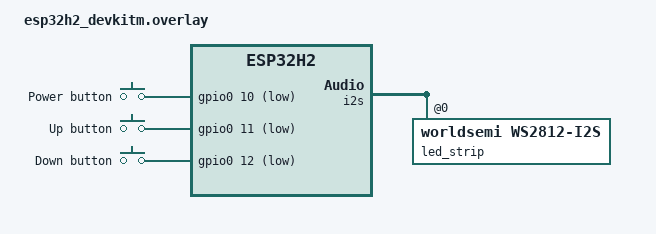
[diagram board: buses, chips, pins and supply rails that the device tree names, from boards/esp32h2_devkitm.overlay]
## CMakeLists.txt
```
cmake_minimum_required(VERSION 3.20.0)

# SPLed is a plain west project. It knows nothing about Zephyr, so nothing in
# this port is mirrored on the SPLed side.
if(NOT DEFINED SPLED_ROOT)
  get_filename_component(SPLED_ROOT ${CMAKE_CURRENT_SOURCE_DIR}/../deps/spled ABSOLUTE)
endif()
if(NOT EXISTS ${SPLED_ROOT}/KConfig)
  message(FATAL_ERROR
    "SPLed sources not found at ${SPLED_ROOT}. "
    "Run `west update`, or configure with -DSPLED_ROOT=<path>.")
endif()

# app/Kconfig sources the SPLed feature model through this variable, so it must
# be set before find_package(Zephyr) runs Kconfig.
set(ENV{SPLED_ROOT} ${SPLED_ROOT})

find_package(Zephyr REQUIRED HINTS $ENV{ZEPHYR_BASE})
project(spledz C)

set(SPLED_COMPONENTS ${SPLED_ROOT}/components)

target_sources(app PRIVATE
  src/main.c
  src/button_adapter.c
  ${SPLED_COMPONENTS}/rte/src/rte.c
  ${SPLED_COMPONENTS}/spled/src/spled.c
  ${SPLED_COMPONENTS}/power_button/src/power_button.c
  ${SPLED_COMPONENTS}/power_signal_processing/src/power_signal_processing.c
  ${SPLED_COMPONENTS}/light_controller/src/light_controller.c
  ${SPLED_COMPONENTS}/main_control_knob/src/main_control_knob.c
)

# The platform adapters, picked by what the board's devicetree offers rather
# than by the board name: an RGB LED on a data line goes through led_strip, a
# plain on/off LED through gpio.
target_sources_ifdef(CONFIG_LED_STRIP app PRIVATE src/led_adapter_ws2812.c)
target_sources_ifndef(CONFIG_LED_STRIP app PRIVATE src/led_adapter.c)
# Both platforms: on native_sim it is the only way to press a button, on the
# board it is the one that needs no wiring.
target_sources_ifdef(CONFIG_SHELL app PRIVATE src/buttons_shell.c)

# In SPLed each variant lists the components it is built from. Zephyr has no
# variant to carry that list, so the selection is re-derived from a feature
# symbol here.
target_sources_ifdef(CONFIG_BRIGHTNESS_ADJUSTMENT_ENABLED app PRIVATE
  ${SPLED_COMPONENTS}/brightness_controller/src/brightness_controller.c
)

# SPLed's platform toolchain files supply this: `static` in a product build,
# empty in a test build so the tests can reach internal functions. Zephyr has no
# platform layer to carry it, so it is repeated here.
target_compile_definitions(app PRIVATE SPLE_TESTABLE_STATIC=static)

target_include_directories(app PRIVATE
  ${SPLED_ROOT}/platforms
  ${SPLED_COMPONENTS}/rte/src
  ${SPLED_COMPONENTS}/spled/src
  ${SPLED_COMPONENTS}/led_interface
  ${SPLED_COMPONENTS}/button_interface
  ${SPLED_COMPONENTS}/power_button/src
  ${SPLED_COMPONENTS}/power_signal_processing/src
  ${SPLED_COMPONENTS}/light_controller/src
  ${SPLED_COMPONENTS}/main_control_knob/src
  ${SPLED_COMPONENTS}/brightness_controller/src
  # SPLed components include "autoconf.h" by name; Zephyr generates it here.
  ${PROJECT_BINARY_DIR}/include/generated/zephyr
)
```

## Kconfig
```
# The SPLed feature model, reused as-is from the SPLed repository.
# SPLED_ROOT is exported by CMakeLists.txt before find_package(Zephyr).
source "$(SPLED_ROOT)/KConfig"

source "Kconfig.zephyr"
```

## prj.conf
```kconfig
# Default build (no FILE_SUFFIX given). Same product as Disco.
#
# FILE_SUFFIX replaces this file rather than extending it, so every prj_*.conf
# repeats the Zephyr settings below. SPLed has no such duplication: its variants
# only list what differs.
CONFIG_GPIO=y
CONFIG_LOG=y
# The shell replaces pc_terminal's keyboard: `spled power`, `spled up/down`.
CONFIG_SHELL=y
CONFIG_MAIN_STACK_SIZE=2048

CONFIG_OS_TASK_PERIOD=10
CONFIG_BLINKING=y
CONFIG_COLOR_GREEN=y
CONFIG_COLOR_1_OFF=y
```

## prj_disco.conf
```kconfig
# Disco: the LED blinks and the knob changes the blinking frequency.
# Feature values taken from SPLed's variants/Disco/config.txt.
CONFIG_GPIO=y
CONFIG_LOG=y
# The shell replaces pc_terminal's keyboard: `spled power`, `spled up/down`.
CONFIG_SHELL=y
CONFIG_MAIN_STACK_SIZE=2048

CONFIG_OS_TASK_PERIOD=10
CONFIG_BLINKING=y
CONFIG_COLOR_GREEN=y
CONFIG_COLOR_1_OFF=y
```

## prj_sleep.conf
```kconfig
# Sleep: constant color, brightness adjusted by hand.
# Feature values taken from SPLed's variants/Sleep/config.txt.
CONFIG_GPIO=y
CONFIG_LOG=y
# The shell replaces pc_terminal's keyboard: `spled power`, `spled up/down`.
CONFIG_SHELL=y
CONFIG_MAIN_STACK_SIZE=2048

CONFIG_OS_TASK_PERIOD=10
CONFIG_BRIGHTNESS_ADJUSTMENT_MANUAL=y
CONFIG_COLOR_PURPLE=y
CONFIG_COLOR_1_OFF=y
```

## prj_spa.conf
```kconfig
# Spa: brightness pulsates and the light cycles through two colors.
# Feature values taken from SPLed's variants/Spa/config.txt.
CONFIG_GPIO=y
CONFIG_LOG=y
# The shell replaces pc_terminal's keyboard: `spled power`, `spled up/down`.
CONFIG_SHELL=y
CONFIG_MAIN_STACK_SIZE=2048

CONFIG_OS_TASK_PERIOD=10
CONFIG_BRIGHTNESS_ADJUSTMENT_AUTOMATIC=y
CONFIG_BRIGHTNESS_ADJUSTMENT_PERIOD=10
CONFIG_COLOR_PURPLE=y
CONFIG_COLOR_1_GREEN=y
```

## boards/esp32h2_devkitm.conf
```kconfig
# The board's LED is a WS2812 on a data line, not a GPIO that goes on and off,
# so it is driven through the led_strip API. The I2S driver behind it is
# selected by the devicetree node in the overlay next to this file.
CONFIG_LED_STRIP=y
```

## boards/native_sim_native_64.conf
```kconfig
# Keep the shell in the terminal that started the binary. The LED display uses
# the second UART, which stays on its own pseudo terminal.
#
# Board files are merged on top of prj_<variant>.conf rather than replacing it,
# so this line lives here once instead of in every variant.
CONFIG_UART_NATIVE_PTY_0_ON_STDINOUT=y
```

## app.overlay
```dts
#include <zephyr/dt-bindings/gpio/gpio.h>

/* The LED display gets its own pseudo terminal, leaving the console free for the
 * shell. See app/src/led_adapter.c. */
&uart1 {
	status = "okay";
};

/ {
	buttons {
		compatible = "gpio-keys";

		power_button: button_power {
			gpios = <&gpio0 1 (GPIO_ACTIVE_LOW | GPIO_PULL_UP)>;
			label = "Power button";
		};

		up_button: button_up {
			gpios = <&gpio0 2 (GPIO_ACTIVE_LOW | GPIO_PULL_UP)>;
			label = "Up button";
		};

		down_button: button_down {
			gpios = <&gpio0 3 (GPIO_ACTIVE_LOW | GPIO_PULL_UP)>;
			label = "Down button";
		};
	};

	aliases {
		sw0 = &power_button;
		sw1 = &up_button;
		sw2 = &down_button;
	};
};
```

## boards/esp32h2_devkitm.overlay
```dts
/*
 * The WS2812 half is taken from Zephyr's own led_strip sample
 * (samples/drivers/led/led_strip/boards/esp32h2_devkitm.overlay), which already
 * describes the onboard RGB LED: a WS2812 on GPIO8 driven over I2S with DMA,
 * because there is no RMT-based WS2812 driver in the tree. The Waveshare board
 * carries the same LED on the same pin, so the node transfers unchanged.
 *
 * The buttons are ours: the board has one usable key (BOOT, GPIO9) and SPLed
 * needs three, so they are wired to free header pins.
 */

#include <zephyr/dt-bindings/gpio/gpio.h>
#include <zephyr/dt-bindings/led/led.h>

/ {
	aliases {
		led-strip = &led_strip;
	};

	buttons {
		compatible = "gpio-keys";

		power_button: button_power {
			gpios = <&gpio0 10 (GPIO_ACTIVE_LOW | GPIO_PULL_UP)>;
			label = "Power button";
		};

		up_button: button_up {
			gpios = <&gpio0 11 (GPIO_ACTIVE_LOW | GPIO_PULL_UP)>;
			label = "Up button";
		};

		down_button: button_down {
			gpios = <&gpio0 12 (GPIO_ACTIVE_LOW | GPIO_PULL_UP)>;
			label = "Down button";
		};
	};
};

/* Not in the aliases block above: the board DTS already aliases sw0 to the BOOT
 * key, and an alias can only be set once, so all three are overridden here. */
&{/aliases} {
	sw0 = &power_button;
	sw1 = &up_button;
	sw2 = &down_button;
};

&i2s_default {
	group1 {
		pinmux = <I2S_O_SD_GPIO8>;
	};
};

i2s_led: &i2s {
	status = "okay";

	dmas = <&dma 3>;
	dma-names = "tx";

	led_strip: ws2812@0 {
		compatible = "worldsemi,ws2812-i2s";

		reg = <0>;
		chain-length = <1>;
		color-mapping = <LED_COLOR_ID_GREEN
				 LED_COLOR_ID_RED
				 LED_COLOR_ID_BLUE>;
		reset-delay = <500>;
	};
};

&dma {
	status = "okay";
};
```

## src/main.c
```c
#include <zephyr/kernel.h>

#include "autoconf.h"
#include "button_interface.h"
#include "led_interface.h"
#include "spled.h"

int main(void)
{
	ledInterface_init();
	buttonInterface_init();
	Task_Init();

	while (1) {
		buttonInterface_update();
		spled();
		k_sleep(K_MSEC(CONFIG_OS_TASK_PERIOD));
	}

	return 0;
}
```

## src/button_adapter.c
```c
#include <zephyr/drivers/gpio.h>
#include <zephyr/logging/log.h>

#include "button_interface.h"

LOG_MODULE_REGISTER(spled_button, LOG_LEVEL_INF);

enum ButtonIndex {
	BUTTON_POWER = 0,
	BUTTON_UP,
	BUTTON_DOWN,
	BUTTON_COUNT,
};

static const struct gpio_dt_spec buttons[BUTTON_COUNT] = {
	[BUTTON_POWER] = GPIO_DT_SPEC_GET(DT_ALIAS(sw0), gpios),
	[BUTTON_UP] = GPIO_DT_SPEC_GET(DT_ALIAS(sw1), gpios),
	[BUTTON_DOWN] = GPIO_DT_SPEC_GET(DT_ALIAS(sw2), gpios),
};

static boolean pressed[BUTTON_COUNT];

void buttonInterface_init(void)
{
	for (int i = 0; i < BUTTON_COUNT; i++) {
		if (!gpio_is_ready_dt(&buttons[i])) {
			LOG_ERR("button %d is not ready", i);
			continue;
		}
		gpio_pin_configure_dt(&buttons[i], GPIO_INPUT);
	}
}

void buttonInterface_update(void)
{
	for (int i = 0; i < BUTTON_COUNT; i++) {
		pressed[i] = (gpio_pin_get_dt(&buttons[i]) > 0) ? TRUE : FALSE;
	}
}

boolean ButtonInterfaceIsButtonPressed(KeyCodes key)
{
	switch (key) {
	case POWER_BUTTON_KEY:
		return pressed[BUTTON_POWER];
	case KEY_UP:
		return pressed[BUTTON_UP];
	case KEY_DOWN:
		return pressed[BUTTON_DOWN];
	default:
		return FALSE;
	}
}
```

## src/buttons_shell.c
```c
#include <zephyr/drivers/gpio.h>
#ifdef CONFIG_GPIO_EMUL
#include <zephyr/drivers/gpio/gpio_emul.h>
#endif
#include <zephyr/kernel.h>
#include <zephyr/shell/shell.h>

#include "autoconf.h"
#include "rte.h"

/* SPLed's pc_terminal platform is also a keyboard simulator; this is the port's
 * replacement for it: `spled power`, `spled up`, `spled down`. On native_sim
 * nothing drives the emulated pins, so without this there is no way in at all.
 * On the board it is a convenience, and it coexists with the soldered buttons:
 * both ways of pressing end up as the same low level on the same pin, so the
 * adapter above cannot tell them apart and does not have to. */

/* powerButton() needs POWER_BUTTON_PRESS_DEBOUNCE (10) consecutive polls at
 * CONFIG_OS_TASK_PERIOD ms to accept a press; hold well past that. */
#define PRESS_HOLD_MS (CONFIG_OS_TASK_PERIOD * 20)

static const struct gpio_dt_spec power_button = GPIO_DT_SPEC_GET(DT_ALIAS(sw0), gpios);
static const struct gpio_dt_spec up_button = GPIO_DT_SPEC_GET(DT_ALIAS(sw1), gpios);
static const struct gpio_dt_spec down_button = GPIO_DT_SPEC_GET(DT_ALIAS(sw2), gpios);

/* Hold the button, then let it go. The pin polarity lives in the devicetree, so
 * neither half names a level. */
static int hold(const struct gpio_dt_spec *button)
{
#ifdef CONFIG_GPIO_EMUL
	/* An emulated input has a value of its own, separate from what the pin
	 * would be driven to, and only this call can set it. */
	return gpio_emul_input_set(button->port, button->pin, button->dt_flags & GPIO_ACTIVE_LOW ? 0 : 1);
#else
	/* A real input cannot be told what to read, so drive it instead, and keep
	 * the input buffer on so the adapter still reads the pin. Driving the
	 * pressed level is what a wired button does, so one held at the same time
	 * pulls the same way rather than fighting the driver. */
	return gpio_pin_configure_dt(button, GPIO_INPUT | GPIO_OUTPUT_ACTIVE);
#endif
}

static int release(const struct gpio_dt_spec *button)
{
#ifdef CONFIG_GPIO_EMUL
	return gpio_emul_input_set(button->port, button->pin, button->dt_flags & GPIO_ACTIVE_LOW ? 1 : 0);
#else
	/* Back to a plain input. The pull-up from the devicetree takes the pin to
	 * the released level, and a finger on the button still overrides it. */
	return gpio_pin_configure_dt(button, GPIO_INPUT);
#endif
}

static int press(const struct shell *sh, const struct gpio_dt_spec *button)
{
	int ret = hold(button);

	if (ret) {
		shell_error(sh, "pin %u could not be pressed: %d", button->pin, ret);
		return ret;
	}
	k_msleep(PRESS_HOLD_MS);

	ret = release(button);
	if (ret) {
		shell_error(sh, "pin %u could not be released: %d", button->pin, ret);
	}

	return ret;
}

static int cmd_power(const struct shell *sh, size_t argc, char **argv)
{
	ARG_UNUSED(argc);
	ARG_UNUSED(argv);

	return press(sh, &power_button);
}

static int cmd_up(const struct shell *sh, size_t argc, char **argv)
{
	ARG_UNUSED(argc);
	ARG_UNUSED(argv);

	return press(sh, &up_button);
}

static int cmd_down(const struct shell *sh, size_t argc, char **argv)
{
	ARG_UNUSED(argc);
	ARG_UNUSED(argv);

	return press(sh, &down_button);
}

static int cmd_state(const struct shell *sh, size_t argc, char **argv)
{
	RGBColor light;

	ARG_UNUSED(argc);
	ARG_UNUSED(argv);

	RteGetLightValue(&light);
	shell_print(sh, "power=%s light=%u,%u,%u",
		    RteGetPowerState() == POWER_STATE_ON ? "on" : "off", light.red, light.green,
		    light.blue);
	shell_print(sh, "buttons power=%d up=%d down=%d (logical, 1 means pressed)",
		    gpio_pin_get_dt(&power_button), gpio_pin_get_dt(&up_button),
		    gpio_pin_get_dt(&down_button));

	return 0;
}

SHELL_STATIC_SUBCMD_SET_CREATE(spled_cmds,
			       SHELL_CMD(power, NULL, "Toggle power on or off.", cmd_power),
			       SHELL_CMD(up, NULL, "Press the up button.", cmd_up),
			       SHELL_CMD(down, NULL, "Press the down button.", cmd_down),
			       SHELL_CMD(state, NULL, "Show power, light and button state.", cmd_state),
			       SHELL_SUBCMD_SET_END);

SHELL_CMD_REGISTER(spled, &spled_cmds, "Press an SPLed button.", NULL);
```

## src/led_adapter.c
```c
#include <stdio.h>
#include <zephyr/drivers/gpio.h>
#include <zephyr/drivers/uart.h>
#include <zephyr/logging/log.h>

#include "led_interface.h"
#include "rte.h"

LOG_MODULE_REGISTER(spled_led, LOG_LEVEL_INF);

static const struct gpio_dt_spec led = GPIO_DT_SPEC_GET(DT_ALIAS(led0), gpios);

/* The LED gets a UART of its own rather than sharing the console with Zephyr's
 * shell. On native_sim that is a second pseudo terminal, so this adapter owns
 * its screen the way SPLed's pc_terminal platform owns the invoking terminal,
 * and it can redraw in place without fighting anyone for the cursor. */
static const struct device *const display = DEVICE_DT_GET(DT_NODELABEL(uart1));

static RGBColor previousLightValue;

static void display_write(const char *text)
{
	if (!device_is_ready(display)) {
		return;
	}
	while (*text) {
		uart_poll_out(display, *text++);
	}
}

static void display_light(const RGBColor *value)
{
	char frame[64];

	/* The numbers are not decoration: a viewer that drops 24-bit colour (GNU
	 * screen, for one) renders every state as the same grey block, and the
	 * demo looks dead while it is working. */
	snprintf(frame, sizeof(frame), "\x1b[48;2;%u;%u;%um LED \x1b[0m r=%3u g=%3u b=%3u\r",
		 value->red, value->green, value->blue, value->red, value->green, value->blue);
	display_write(frame);
}

void ledInterface_init(void)
{
	previousLightValue.red = 0;
	previousLightValue.green = 0;
	previousLightValue.blue = 0;

	if (!gpio_is_ready_dt(&led)) {
		LOG_ERR("LED device is not ready");
		return;
	}
	gpio_pin_configure_dt(&led, GPIO_OUTPUT_INACTIVE);

	/* Hide the cursor and show the powered-off LED, so the display is there
	 * before anything happens rather than only after the first change. */
	display_write("\x1b[?25l");
	display_light(&previousLightValue);
}

void ledInterface(void)
{
	RGBColor lightValue;

	RteGetLightValue(&lightValue);

	if (lightValue.red == previousLightValue.red &&
	    lightValue.green == previousLightValue.green &&
	    lightValue.blue == previousLightValue.blue) {
		return;
	}
	previousLightValue = lightValue;

	/* The emulated board LED is on/off only, so it just tracks "lit". */
	gpio_pin_set_dt(&led, (lightValue.red || lightValue.green || lightValue.blue) ? 1 : 0);

	display_light(&lightValue);
}
```

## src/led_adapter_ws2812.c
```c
#include <zephyr/drivers/led_strip.h>
#include <zephyr/logging/log.h>

#include "led_interface.h"
#include "rte.h"

LOG_MODULE_REGISTER(spled_led, LOG_LEVEL_INF);

/* The hardware counterpart of src/led_adapter.c. On native_sim the LED is a
 * GPIO that is only ever on or off, so the colour has to be drawn as text on a
 * second UART. Here the LED takes the RGB value directly and there is nothing
 * to draw: the board's WS2812 is the display. */
static const struct device *const strip = DEVICE_DT_GET(DT_ALIAS(led_strip));

static struct led_rgb pixel;
static RGBColor previousLightValue;

static void show(const RGBColor *value)
{
	pixel.r = value->red;
	pixel.g = value->green;
	pixel.b = value->blue;

	if (led_strip_update_rgb(strip, &pixel, 1) < 0) {
		LOG_ERR("LED strip update failed");
		return;
	}
	LOG_DBG("r=%3u g=%3u b=%3u", value->red, value->green, value->blue);
}

void ledInterface_init(void)
{
	previousLightValue.red = 0;
	previousLightValue.green = 0;
	previousLightValue.blue = 0;

	if (!device_is_ready(strip)) {
		LOG_ERR("LED strip device is not ready");
		return;
	}

	/* Show the powered-off LED right away: a WS2812 keeps whatever the last
	 * writer left in it across a reset, so an unwritten strip is not dark. */
	show(&previousLightValue);
}

void ledInterface(void)
{
	RGBColor lightValue;

	RteGetLightValue(&lightValue);

	if (lightValue.red == previousLightValue.red &&
	    lightValue.green == previousLightValue.green &&
	    lightValue.blue == previousLightValue.blue) {
		return;
	}
	previousLightValue = lightValue;

	show(&lightValue);
}
```
